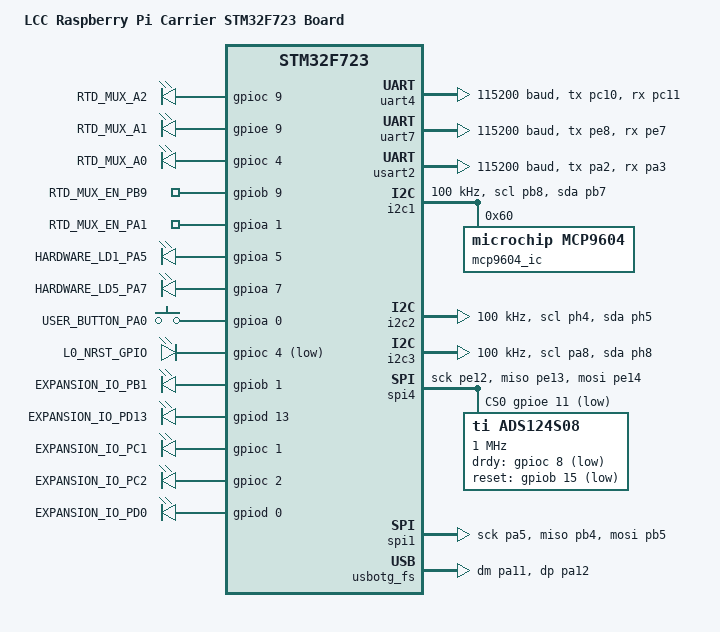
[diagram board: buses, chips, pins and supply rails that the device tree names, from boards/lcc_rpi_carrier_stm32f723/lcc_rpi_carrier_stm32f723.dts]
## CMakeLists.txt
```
cmake_minimum_required(VERSION 3.20.0)
set(BOARD_ROOT ${CMAKE_CURRENT_SOURCE_DIR})
find_package(Zephyr REQUIRED HINTS $ENV{ZEPHYR_BASE})
project(stm32f723_app)

# ==========================================
# Force CMake Re-run
# ==========================================
# 1. Automate .c files (Sources)
# ==========================================
file(GLOB_RECURSE APP_SOURCES 
    "src/*.c"
    "drivers/*.c"
)
target_sources(app PRIVATE ${APP_SOURCES})
# ==========================================
# 2. Automate .h files (Include Directories)
# ==========================================
file(GLOB_RECURSE APP_HEADERS 
    "src/*.h"
    "drivers/*.h"
)
# Extract just the folder path from each header file
set(APP_INCLUDE_DIRS "")
foreach(HEADER_FILE ${APP_HEADERS})
    get_filename_component(HEADER_DIR ${HEADER_FILE} DIRECTORY)
    list(APPEND APP_INCLUDE_DIRS ${HEADER_DIR})
endforeach()
# Remove duplicate folders from the list
list(REMOVE_DUPLICATES APP_INCLUDE_DIRS)
# Give the list of folders to the compiler
target_include_directories(app PRIVATE ${APP_INCLUDE_DIRS})

target_include_directories(app PRIVATE ${ZEPHYR_BASE}/drivers/adc)
```

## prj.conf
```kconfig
# ==========================================
# Core Kernel & System Configuration
# ==========================================
CONFIG_NEWLIB_LIBC=y
CONFIG_HEAP_MEM_POOL_SIZE=2048
CONFIG_CBPRINTF_FP_SUPPORT=y

# ==========================================
# Hardware Busses (I2C, SPI, GPIO)
# ==========================================
CONFIG_GPIO=y
CONFIG_I2C=y
CONFIG_I2C_STM32=y
CONFIG_SPI=y

# ==========================================
# Drivers (Sensors & ADCs)
# ==========================================
CONFIG_SENSOR=y
CONFIG_MCP9600=y
CONFIG_ADC=y
CONFIG_ADC_INIT_PRIORITY=80

# Keep upstream driver disabled, custom driver available
CONFIG_ADC_ADS1X4S0X=n
# Re-enable the structure fields needed by ADS124S08:
# CONFIG_ADC_CONFIGURABLE_INPUTS=y
# CONFIG_ADC_CONFIGURABLE_EXCITATION_CURRENT_SOURCE_PIN=y
# CONFIG_ADC_CONFIGURABLE_VBIAS_PIN=y

# ==========================================
# DMA & UART (Display Protocol)
# ==========================================
CONFIG_SERIAL=y
CONFIG_UART_ASYNC_API=y
CONFIG_DMA=y
CONFIG_NOCACHE_MEMORY=y

# Disable standard UART features to prevent conflicts with DMA
CONFIG_UART_CONSOLE=n
CONFIG_UART_INTERRUPT_DRIVEN=n

# Optional DMA debug
CONFIG_DMA_LOG_LEVEL_DBG=y

# ==========================================
# Logging & Console (SEGGER RTT)
# ==========================================
CONFIG_LOG=y
CONFIG_PRINTK=y
CONFIG_LOG_DEFAULT_LEVEL=3
CONFIG_LOG_RUNTIME_FILTERING=y
CONFIG_ASSERT=y

# Use RTT instead of UART for logs
CONFIG_USE_SEGGER_RTT=y
CONFIG_LOG_BACKEND_RTT=y
CONFIG_RTT_CONSOLE=y
CONFIG_LOG_BACKEND_UART=n
CONFIG_CONSOLE=n
CONFIG_STDOUT_CONSOLE=n

# RTT Buffers & Threading safety
CONFIG_SEGGER_RTT_BUFFER_SIZE_UP=4096
CONFIG_SEGGER_RTT_BUFFER_SIZE_DOWN=16
CONFIG_LOG_MODE_IMMEDIATE=y
# ==========================================
# Threading & Memory Protection
# ==========================================
CONFIG_NUM_PREEMPT_PRIORITIES=15
CONFIG_MAIN_STACK_SIZE=16384
CONFIG_SMF=y

# MPU & Stack Guard Rails
CONFIG_MPU=y
CONFIG_ARM_MPU=y
CONFIG_HW_STACK_PROTECTION=y
CONFIG_STACK_SENTINEL=y
CONFIG_INIT_STACKS=y

CONFIG_THREAD_STACK_INFO=y


# ==========================================
# Hardware Floating Point Unit (FPU)
# ==========================================
CONFIG_FPU=y
CONFIG_FPU_SHARING=y
CONFIG_SYSTEM_WORKQUEUE_STACK_SIZE=2048


# ==========================================
# Debug optimization
# ==========================================
CONFIG_DEBUG_OPTIMIZATIONS=y

# ==========================================
# Scheduler analysis
# ==========================================
CONFIG_THREAD_MONITOR=y
CONFIG_THREAD_NAME=y
CONFIG_THREAD_RUNTIME_STATS=y
CONFIG_THREAD_ANALYZER=y
CONFIG_THREAD_ANALYZER_AUTO=y
CONFIG_THREAD_ANALYZER_AUTO_INTERVAL=5


# ==========================================
# Zbus (Inter-thread Communication)
# ==========================================
CONFIG_ZBUS=y
CONFIG_ZBUS_CHANNEL_NAME=y   # Optional: useful for logging/debugging
```

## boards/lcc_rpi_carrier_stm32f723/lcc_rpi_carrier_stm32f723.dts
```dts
/*
 * SPDX-License-Identifier: Apache-2.0
 * * Custom Board Devicetree for LCC Raspberry Pi Carrier STM32F723 Board
 * Structured for scalability, easy maintenance, and explicit GPIO naming.
 */

/dts-v1/;

#include <st/f7/stm32f7.dtsi>
#include <st/f7/stm32f723Xe.dtsi>
#include <st/f7/stm32f723i(c-e)kx-pinctrl.dtsi>// zephyr->modules->hal->stm32->dts
#include <zephyr/dt-bindings/sensor/mcp9600.h>



//#include <zephyr/dt-bindings/pinctrl/stm32-pinctrl.h>


#include <zephyr/dt-bindings/input/input-event-codes.h>
/ {
    model = "LCC Raspberry Pi Carrier STM32F723 Board";
    compatible = "lcc,lcc_rpi_carrier_stm32f723";

    chosen {
        // zephyr,console = &usart6;
        // zephyr,shell-uart = &usart6;
        zephyr,sram = &sram0;
        zephyr,flash = &flash0;
        // zephyr,flash-controller = &mx25r512;
    };

    /* * =========================================================================
     * GPIO CONFIGURATIONS (LEDS, BUTTONS, & GENERAL PURPOSE IO)
     * =========================================================================
     */
    rtd_mux: rtd_mux {
        compatible = "gpio-leds";

        mux_addr2: mux_a2 {
            gpios = <&gpioc 9 GPIO_ACTIVE_HIGH>;
            label = "RTD_MUX_A2";
        };
        mux_addr1: mux_a1 {
            gpios = <&gpioe 9 GPIO_ACTIVE_HIGH>;
            label = "RTD_MUX_A1";
        };
        mux_addr0: mux_a0 {
            gpios = <&gpioc 4 GPIO_ACTIVE_HIGH>;
            label = "RTD_MUX_A0";
        };

        /*Complementary MUX Enable / Select Pins */
        mux_en1_b9: mux_en1_b9 {
            gpios = <&gpiob 9 GPIO_ACTIVE_HIGH>;
            label = "RTD_MUX_EN_PB9";
        };
        mux_en2_a1: mux_en2_a1 {
            gpios = <&gpioa 1 GPIO_ACTIVE_HIGH>;
            label = "RTD_MUX_EN_PA1";
        };




    };
    
    /* Standard LED Nodes */
    leds {
        compatible = "gpio-leds";

        gpio_pa5: led_pa5 {
            gpios = <&gpioa 5 GPIO_ACTIVE_HIGH>;
            label = "HARDWARE_LD1_PA5";
        };

        gpio_pa7: led_pa7 {
            gpios = <&gpioa 7 GPIO_ACTIVE_HIGH>;
            label = "HARDWARE_LD5_PA7";
        };

        // gpio_pb1: led_pb1 {
        //     gpios = <&gpiob 1 GPIO_ACTIVE_HIGH>;
        //     label = "HARDWARE_LD6_PB1";
        // };
    };

    /* Input Keys / Interrupt-driven Buttons */
    gpio_keys {
        compatible = "gpio-keys";

        gpio_pa0: button_pa0 {
            gpios = <&gpioa 0 GPIO_ACTIVE_HIGH>;
            label = "USER_BUTTON_PA0";
            zephyr,code = <INPUT_KEY_0>;
        };
    };

    /* * SCALABLE GPIO EXPANSION:
     * Use this block to map miscellaneous digital inputs/outputs on your board.
     * Binding to "gpio-leds" lets you manipulate them easily in C code using:
     * gpio_pin_configure_dt() / gpio_pin_set_dt()
     */
    custom_gpios {
        compatible = "gpio-leds";

        /* Template: Duplicate and modify these blocks as your board needs grow */

        l0_reset_pin: l0_reset_pin {
            gpios = <&gpioc 4 GPIO_ACTIVE_LOW>;
            label = "L0_NRST_GPIO";
        };

		gpio_pb1: io_pb1 {
            gpios = <&gpiob 1 GPIO_ACTIVE_HIGH>;
            label = "EXPANSION_IO_PB1";
        };

		gpio_pd13: io_pd13 {
            gpios = <&gpiod 13 GPIO_ACTIVE_HIGH>;
            label = "EXPANSION_IO_PD13";
        };


        gpio_pc1: io_pc1 {
            gpios = <&gpioc 1 GPIO_ACTIVE_HIGH>;
            label = "EXPANSION_IO_PC1";
        };

        gpio_pc2: io_pc2 {
            gpios = <&gpioc 2 GPIO_ACTIVE_HIGH>;
            label = "EXPANSION_IO_PC2";
        };

        gpio_pd0: io_pd0 {
            gpios = <&gpiod 0 GPIO_ACTIVE_HIGH>;
            label = "EXPANSION_IO_PD0";
        };
    };


  
    /* Application-friendly aliases for your main application logic loop */
    aliases {
        l0-reset = &l0_reset_pin;
        led0 = &gpio_pa5;
        led1 = &gpio_pa7;
        // led2 = &gpio_pb1;
        sw0  = &gpio_pa0;
        /* Custom io aliases can be mapped here as well (e.g., test-point = &gpio_pc1;) */
        /* ADD THESE TWO LINES FOR YOUR TASKS */
        vacuum-gpio = &gpio_pd13;    /* Points to io_pd13 (Pin D13) */
        collector-gpio = &gpio_pb1; /* Points to io_pb1 (Pin B1) */
        mux-a0 = &mux_addr0;
        mux-a1 = &mux_addr1;
        mux-a2 = &mux_addr2;

         /* Aliases for PB9 and PA1 */
        mux-en1 = &mux_en1_b9;
        mux-en2 = &mux_en2_a1;

    };
};

/* * =========================================================================
 * CLOCK & SYSTEM SYSTEM CONFIGURATION
 * =========================================================================
 */

&clk_hse {
    clock-frequency = <DT_FREQ_M(25)>;
    status = "disabled"; /* Change to "okay" if utilizing an external crystal oscillator */
};

&clk_hsi {
    status = "okay";
};

&pll {
    div-m = <8>;
    mul-n = <216>;
    div-p = <2>;
    div-q = <9>;
    clocks = <&clk_hsi>;
    status = "okay";
};

&rcc {
    clocks = <&pll>;
    clock-frequency = <DT_FREQ_M(216)>;
    ahb-prescaler = <1>;
    apb1-prescaler = <4>;
    apb2-prescaler = <2>;
};

/* * =========================================================================
 * COMMUNICATION PROTOCOLS (UARTS, I2C, SPI)
 * =========================================================================
 */

/* =========================================================================
 * UART4 + DMA ::::::::::::Accessory IOB:::::::
 * ========================================================================= */

&uart4 {
    /* PC10 is TX, PC11 is RX using alternative function mappings */
    pinctrl-0 = <&uart4_tx_pc10 &uart4_rx_pc11>;
    pinctrl-names = "default";
    current-speed = <115200>; /* Adjust to match accessory IOB */
    status = "okay";

    /* DMA mapping for STM32F7 UART4 */
    dmas = <&dma1 4 4 (STM32_DMA_PERIPH_TX | STM32_DMA_PRIORITY_HIGH) 0>,  /* Stream 4, Channel 4 (TX) */
           <&dma1 2 4 (STM32_DMA_PERIPH_RX | STM32_DMA_PRIORITY_HIGH) 0>;  /* Stream 2, Channel 4 (RX) */
    
    dma-names = "tx", "rx";
};


/* =========================================================================
 * CUSTOM TERMINAL DISPLAY CONFIGURATION (UART7 + DMA1)
 * ========================================================================= */


&uart7 {
    /* PE7 is RX, PE8 is TX using alternative function mappings */
    pinctrl-0 = <&uart7_tx_pe8 &uart7_rx_pe7>;
    pinctrl-names = "default";
    current-speed = <115200>;
    status = "okay";

    /* FIXED: Raw hex values explicitly resolve the parsing shift */
    dmas = <&dma1 1 5 (STM32_DMA_PERIPH_TX | STM32_DMA_PRIORITY_HIGH) 0>,  /* Stream 1, Channel 5 (TX Channel) */
           <&dma1 3 5 (STM32_DMA_PERIPH_RX | STM32_DMA_PRIORITY_HIGH) 0>;  /* Stream 3, Channel 5 (RX Channel) */

    //single-wire;       
    dma-names = "tx", "rx";
};




&dma1 {
    status = "okay";
};



/* Auxiliary Communication Channel / Modbus / External Peripherals */
&usart2 {
    pinctrl-0 = <&usart2_tx_pa2 &usart2_rx_pa3>;
    pinctrl-names = "default";
    current-speed = <115200>;
    status = "okay";
};


/* I2C Bus 1 - e.g., Onboard EEPROM or Sensors */


/* I2C Bus 1 - Dedicated to MCP9604 Thermocouple Converter */
&i2c1 {
    pinctrl-0 = <&i2c1_scl_pb8 &i2c1_sda_pb7>; 
    pinctrl-names = "default";
    clock-frequency = <I2C_BITRATE_STANDARD>; 
    status = "okay";

    /* Declare the single physical chip address */
    mcp9604_ic: mcp9604@60 {
        compatible = "microchip,mcp9604";
        reg = <0x60>;
        status = "okay";
    };
};



/* I2C Bus 2 - e.g., Display or Real-Time Clock */
&i2c2 {
    pinctrl-0 = <&i2c2_scl_ph4 &i2c2_sda_ph5>;
    pinctrl-names = "default";
    clock-frequency = <I2C_BITRATE_STANDARD>;
    status = "okay";
};

/* I2C Bus 3 - Expansion Header */
&i2c3 {
    pinctrl-0 = <&i2c3_scl_pa8 &i2c3_sda_ph8>;
    pinctrl-names = "default";
    clock-frequency = <I2C_BITRATE_STANDARD>;
    status = "okay";
};


&spi4 {
    pinctrl-0 = <&spi4_sck_pe12 &spi4_miso_pe13 &spi4_mosi_pe14>;
    pinctrl-names = "default";
    status = "okay";
    
    /* Define the CS pin here for the bus controller */
    cs-gpios = <&gpioe 11 GPIO_ACTIVE_LOW>;
            //    <&gpioe 9 GPIO_ACTIVE_LOW>;
    

    /* Existing ADS124S08 using CS index 0 */
    ads124s08@0 {
        compatible = "ti,ads124s08";
        reg = <0>; /* Maps to cs-gpios index 0 */
        spi-max-frequency = <1000000>;
        spi-cpha; 
        #io-channel-cells = <1>;
        #address-cells = <1>;
        #size-cells = <0>;

        idac-current = <500>;
        drdy-gpios = <&gpioc 8 GPIO_ACTIVE_LOW>; 
        reset-gpios = <&gpiob 15 GPIO_ACTIVE_LOW>;

        channel@0 {
            reg = <0>;
            zephyr,gain = "ADC_GAIN_1";
            zephyr,reference = "ADC_REF_INTERNAL";
            zephyr,acquisition-time = <ADC_ACQ_TIME_DEFAULT>;
            zephyr,input-positive = <1>; 
            zephyr,input-negative = <0>;
        };
    };


    // ltc2983: ltc2983@1 {
    //     compatible = "adi,ltc2983";
    //     reg = <1>;

    //     spi-max-frequency = <1000000>;

    //     spi-cpha;

    //     duplex = <0>;
    //     frame-format = <0>;
    //     spi-interframe-delay-ns = <0>;

    //     status = "okay";
    // };

};


/* SPI Bus 1 - High-speed peripheral bus */
&spi1 {
    pinctrl-0 = <&spi1_sck_pa5 &spi1_miso_pb4 &spi1_mosi_pb5>;
    pinctrl-names = "default";
    status = "okay";
    
    /* * Define custom GPIO Chip Selects here to use Zephyr's automated CS management.
     * Example: cs-gpios = <&gpioa 4 GPIO_ACTIVE_LOW>;
     */
};

/* * =========================================================================
 * EXTERNAL STORAGE & HIGH-SPEED FLASH (QSPI)
 * =========================================================================
 */
// &quadspi {
//     pinctrl-names = "default";
//     pinctrl-0 = <&quadspi_clk_pb2    &quadspi_bk1_ncs_pb6
//                  &quadspi_bk1_io0_pc9 &quadspi_bk1_io1_pc10
//                  &quadspi_bk1_io2_pe2 &quadspi_bk1_io3_pd13>;
//     flash-id = <1>;
//     status = "okay";

//     mx25r512: qspi-nor-flash@0 {
//         compatible = "st,stm32-qspi-nor";
//         reg = <0>;
//         size = <DT_SIZE_M(512)>; /* 512 Mbits (64 Megabytes) */
//         qspi-max-frequency = <8000000>;
//         cs-high-time = <3>; /* >= 30 ns */
//         spi-bus-width = <4>;
//         writeoc = "PP_1_4_4";
//         status = "okay";
//     };
// };

/* * =========================================================================
 * USB DEVICE CONFIGURATION
 * =========================================================================
 */
zephyr_udc0: &usbotg_fs {
    pinctrl-0 = <&usb_otg_fs_dm_pa11 &usb_otg_fs_dp_pa12>;
    pinctrl-names = "default";
    status = "okay";
};
```

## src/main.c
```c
#include <zephyr/kernel.h>
#include <zephyr/logging/log.h>
#include "boot_sequence.h"
#include "thread_manager.h"

LOG_MODULE_REGISTER(main_app, LOG_LEVEL_INF);

int main(void)
{
    system_boot_sequence();

    while (1) 
    {
        k_msleep(5000);
        reset_timeline_trace();
        LOG_INF("Main ENTERED");
    }

    return 0;
}
```

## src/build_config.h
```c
#ifndef BUILD_CONFIG_H
#define BUILD_CONFIG_H

/* ======================================================== */
/*  SIMULATION SWITCH                                 */
/* Comment out this line to return to physical hardware!    */
/* ======================================================== */
#define SIMULATION 1
#ifdef SIMULATION
    /* 1 = Simulate TRIAD (Tilt Valve Present = true,  Vent Valve Present = true)
     * 0 = Simulate FD    (Tilt Valve Present = false, Vent Valve Present = true)
     */
    #define SIMULATE_AS_TRIAD   1
#endif

#endif /* BUILD_CONFIG_H */
```

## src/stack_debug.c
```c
#include <zephyr/kernel.h>
#include <zephyr/logging/log.h>

LOG_MODULE_REGISTER(stack_test);

void print_stack_usage(void)
{
    size_t unused;

    int ret = k_thread_stack_space_get(k_current_get(), &unused);

    if (ret == 0) 
    {
    //    //LOG_INF("Thread %s unused stack: %u bytes",
    //             k_thread_name_get(k_current_get()),
    //             unused);
    }
}
```

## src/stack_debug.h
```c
#ifndef STACK_DEBUG_H
#define STACK_DEBUG_H

void print_stack_usage(void);

#endif
```

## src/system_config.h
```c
#ifndef SYSTEM_CONFIG_H
#define SYSTEM_CONFIG_H

/* ======================================================== */
/* MASTER SIMULATION SWITCH                                 */
/* Comment out this line to return to physical hardware!    */
/* ======================================================== */
#define SIMULATION 1


#endif /* SYSTEM_CONFIG_H */
```

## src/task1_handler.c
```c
/*
 * Copyright (c) 2026 Labconco Corporation
 * SPDX-License-Identifier: Apache-2.0
 */

#include <zephyr/logging/log.h>
#include "platform/platform_gpio.h"
#include "stack_debug.h"
LOG_MODULE_REGISTER(task1, LOG_LEVEL_INF);

int task1_init(void)
{
    print_stack_usage();
    if (!platform_gpio_is_ready(PLATFORM_GPIO_VACUUM_PD13)) {
        return -1;
    }
    return platform_gpio_config_output_inactive(PLATFORM_GPIO_VACUUM_PD13);
}

void task1_vacuum_controller(void)
{
    platform_gpio_toggle(PLATFORM_GPIO_VACUUM_PD13);
    //LOG_INF("[Task1] Entered");
}
```

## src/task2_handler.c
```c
/*
 * Copyright (c) 2026 Labconco Corporation
 * SPDX-License-Identifier: Apache-2.0
 */

#include <zephyr/logging/log.h>
#include "platform/platform_gpio.h"
#include "stack_debug.h"
LOG_MODULE_REGISTER(task2, LOG_LEVEL_INF);

int task2_init(void)
{
    print_stack_usage();
    if (!platform_gpio_is_ready(PLATFORM_GPIO_COLLECTOR_PB1)) {
        return -1;
    }
    return platform_gpio_config_output_inactive(PLATFORM_GPIO_COLLECTOR_PB1);
}

void task2_collector_controller(void)
{
    platform_gpio_toggle(PLATFORM_GPIO_COLLECTOR_PB1);
    //LOG_INF("[Task2] Entered");;
}
```

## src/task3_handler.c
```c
/*
 * Copyright (c) 2026 Labconco Corporation
 * SPDX-License-Identifier: Apache-2.0
 */

#include <zephyr/kernel.h>
#include <zephyr/smf.h>
#include <zephyr/logging/log.h>
#include "task3_handler.h"
#include "stack_debug.h"
LOG_MODULE_REGISTER(task3, LOG_LEVEL_INF);


struct counter_object {
   struct smf_ctx ctx;
   /* All User Defined Data Follows */
   int counter;
};

/*------------------------------------------------------------------
 * State IDs
 *----------------------------------------------------------------*/
enum counter_states {
    COUNT_UP,
    COUNT_DOWN,
};

static struct counter_object counter_obj;

static const struct smf_state states[];

/*-----------------------------
 * COUNT_UP State
 *----------------------------*/
static void count_up_entry(void *obj)
{
    printk("\nEntering COUNT_UP\n");
}

static enum smf_state_result count_up_run(void *obj)
{
    struct counter_object *s = obj;

    //printk("COUNT_UP: %d\n", s->counter);

    if (s->counter >= 5) {
        smf_set_state(SMF_CTX(s), &states[COUNT_DOWN]);
        return SMF_EVENT_HANDLED;
    }

    s->counter++;
    return SMF_EVENT_PROPAGATE;
}

/*-----------------------------
 * COUNT_DOWN State
 *----------------------------*/
static void count_down_entry(void *obj)
{
    //printk("\nEntering COUNT_DOWN\n");
}

static enum smf_state_result count_down_run(void *obj)
{
    struct counter_object *s = obj;

    //printk("COUNT_DOWN: %d\n", s->counter);

    if (s->counter <= 0) {
        smf_set_state(SMF_CTX(s), &states[COUNT_UP]);
        return SMF_EVENT_HANDLED;
    }

    s->counter--;
    return SMF_EVENT_PROPAGATE;
}

/*-----------------------------
 * State Table
 *----------------------------*/
static const struct smf_state states[] = {
    [COUNT_UP] = SMF_CREATE_STATE(
        count_up_entry,
        count_up_run,
        NULL,
        NULL,
        NULL),

    [COUNT_DOWN] = SMF_CREATE_STATE(
        count_down_entry,
        count_down_run,
        NULL,
        NULL,
        NULL),
};

void counter_smf_init(void)
{
    counter_obj.counter = 0;

    smf_set_initial(
        SMF_CTX(&counter_obj),
        &states[COUNT_UP]);
}

void counter_smf_run(void)
{
    smf_run_state(SMF_CTX(&counter_obj));
}

void task3_smf(void)
{
    counter_smf_run();
}

int task3_init(void)
{
    print_stack_usage();
    counter_smf_init();
    return 0;
}
```

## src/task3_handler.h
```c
#ifndef TASK3_HANDLER_H_
#define TASK3_HANDLER_H_

int task3_init(void);
void task3_smf(void);

#endif /* TASK3_HANDLER_H_ */
```

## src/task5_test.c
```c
/*
 * Copyright (c) 2026 Labconco Corporation
 * SPDX-License-Identifier: Apache-2.0
 */

#include <zephyr/logging/log.h>
#include "platform/platform_gpio.h"
#include "stack_debug.h"
#include <zephyr/logging/log.h>
LOG_MODULE_REGISTER(task5, LOG_LEVEL_INF);

int task5_init(void)
{
    print_stack_usage();
    // if (!platform_gpio_is_ready(PLATFORM_GPIO_VACUUM_PD13)) {
    //     return -1;
    // }
    // return platform_gpio_config_output_inactive(PLATFORM_GPIO_VACUUM_PD13);
    return 0;
}

void task5_vacuum_controller(void)
{
    // platform_gpio_toggle(PLATFORM_GPIO_VACUUM_PD13);
    //LOG_INF("[Task5] Entered");
}
```

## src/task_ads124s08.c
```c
#include "build_config.h"
#include <zephyr/kernel.h>
#include <zephyr/drivers/adc.h>
#include <zephyr/logging/log.h>
#include "task_ads124s08.h"
#include <math.h>
#include <zephyr/drivers/gpio.h>
#include "DataStorage/main_iob_data.h"
#include "communication/protocol_defs.h"

LOG_MODULE_REGISTER(task_ads, LOG_LEVEL_INF);

/* RTD constants */
#define VREF            2.5f
#define IDAC_CURRENT    0.000500f
#define ADC_FS          8388608.0f

#define RREF        2058.0f


/* PT1000 Callendar-Van Dusen coefficients */
#define RTD_R0          1000.0f
#define RTD_A           3.9083e-3f
#define RTD_B          -5.775e-7f

#define ADS_AINCOM       12  /* Zephyr internal index for AINCOM */

#define MUX_NODE DT_PATH(rtd_mux)

static const struct gpio_dt_spec mux_a0 = GPIO_DT_SPEC_GET(DT_ALIAS(mux_a0), gpios);//PC4
static const struct gpio_dt_spec mux_a1 = GPIO_DT_SPEC_GET(DT_ALIAS(mux_a1), gpios);//PE9
static const struct gpio_dt_spec mux_a2 = GPIO_DT_SPEC_GET(DT_ALIAS(mux_a2), gpios);//PC9
static const struct gpio_dt_spec mux_en1 = GPIO_DT_SPEC_GET(DT_ALIAS(mux_en1), gpios);//PB9
static const struct gpio_dt_spec mux_en2 = GPIO_DT_SPEC_GET(DT_ALIAS(mux_en2), gpios);//PA1

/* Helper to drive address lines 000 to 111 */
static void set_rtd_mux_channel(uint8_t address)
{


    gpio_pin_set_dt(&mux_en1, 0);
    gpio_pin_set_dt(&mux_en2, 0);

    /* Change MUX address */
    gpio_pin_set_dt(&mux_a0, (address >> 0) & 1);
    gpio_pin_set_dt(&mux_a1, (address >> 1) & 1);
    gpio_pin_set_dt(&mux_a2, (address >> 2) & 1);

    if (address < 8) 
    {
        gpio_pin_set_dt(&mux_en1, 1);
    } 
    else 
    {
        gpio_pin_set_dt(&mux_en2, 1);
    }

    /* Initial analog settling delay */
    k_msleep(10);
}

/* ========================================================
 * PRODUCT-SPECIFIC RTD CONFIGURATIONS
 * ======================================================== */
struct rtd_config 
{
    uint8_t channel_id;
    uint8_t input_positive; // ADS124S08 sense pin (AIN3 to AIN10)
    uint8_t input_negative; // ADS_AINCOM (12)
    uint8_t idac_pin;        // ALWAYS 11 (Excitation routes out AIN11)
    uint8_t mux_channel;    // 0 to 7 (Address for PC9, PE9, PC4)
    uint8_t action_id;
};
/* 1a. Freeze Dry (With Mini Chamber) */
static const struct rtd_config fd_mini_chamber_configs[] = 
{
    { .channel_id = 0, .input_positive = 1, .input_negative = 0, .idac_pin = 5, .action_id = SENSOR_COLLECTOR_TEMP },
    { .channel_id = 1, .input_positive = 3, .input_negative = 2, .idac_pin = 5, .action_id = SENSOR_MINI_CHAMBER_TEMP }
};
/* 1b. Freeze Dry (With Shell Freezer) */
static const struct rtd_config fd_shell_configs[] = 
{
    { .channel_id = 0, .input_positive = 1, .input_negative = 0, .idac_pin = 5, .action_id = SENSOR_COLLECTOR_TEMP },
    { .channel_id = 1, .input_positive = 3, .input_negative = 2, .idac_pin = 5, .action_id = SENSOR_SHELL_FREEZER_TEMP_SENSOR }
};

/* 2. Triad (4 RTDs) */
static const struct rtd_config triad_configs[] = 
{
    { .channel_id = 0, .input_positive = 1, .input_negative = 0, .idac_pin = 5, .action_id = SENSOR_COLLECTOR_TEMP},
    { .channel_id = 1, .input_positive = 3, .input_negative = 2, .idac_pin = 5, .action_id = SENSOR_SHELF1_TEMP }, 
    { .channel_id = 2, .input_positive = 4, .input_negative = 6, .idac_pin = 5, .action_id = SENSOR_SAMPLE1_TEMP },
    { .channel_id = 3, .input_positive = 7, .input_negative = 8, .idac_pin = 5, .action_id = SENSOR_LEXSOL_TEMP}
};

/* 3. Max Config (11 RTDs) */

static const struct rtd_config max_configs[] = 
{
    /* MUX 000 -> Sensor 1 on AIN3 */
    { .channel_id = 0, .input_positive = 3,  .input_negative = ADS_AINCOM, .idac_pin = 11, .mux_channel = 0, .action_id = SENSOR_RTD_TEMP1 },
    /* MUX 001 -> Sensor 2 on AIN4 */
    { .channel_id = 0, .input_positive = 4,  .input_negative = ADS_AINCOM, .idac_pin = 11, .mux_channel = 1, .action_id = SENSOR_RTD_TEMP2 },
    /* MUX 010 -> Sensor 3 on AIN5 */
    { .channel_id = 0, .input_positive = 5,  .input_negative = ADS_AINCOM, .idac_pin = 11, .mux_channel = 2, .action_id = SENSOR_RTD_TEMP3 },
    /* MUX 011 -> Sensor 4 on AIN6 */
    { .channel_id = 0, .input_positive = 6,  .input_negative = ADS_AINCOM, .idac_pin = 11, .mux_channel = 3, .action_id = SENSOR_RTD_TEMP4 },
    /* MUX 100 -> Sensor 5 on AIN7 */
    { .channel_id = 0, .input_positive = 7,  .input_negative = ADS_AINCOM, .idac_pin = 11, .mux_channel = 4, .action_id = SENSOR_RTD_TEMP5 },
    /* MUX 101 -> Sensor 6 on AIN8 */
    { .channel_id = 0, .input_positive = 8,  .input_negative = ADS_AINCOM, .idac_pin = 11, .mux_channel = 5, .action_id = SENSOR_RTD_TEMP6 },
    /* MUX 110 -> Sensor 7 on AIN9 */
    { .channel_id = 0, .input_positive = 9,  .input_negative = ADS_AINCOM, .idac_pin = 11, .mux_channel = 6, .action_id = SENSOR_RTD_TEMP7 },
    /* MUX 111 -> Sensor 8 on AIN10 */
    { .channel_id = 0, .input_positive = 10, .input_negative = ADS_AINCOM, .idac_pin = 11, .mux_channel = 7, .action_id = SENSOR_RTD_TEMP8 },

    /* --- MUX 2 (AIN0, AIN1, AIN2) --- */
    /* MUX 000 on MUX2 -> Sensor 9 on AIN0 */
    { .channel_id = 0, .input_positive = 0,  .input_negative = ADS_AINCOM, .idac_pin = 11, .mux_channel = 8,  .action_id = SENSOR_RTD_TEMP9 },
    /* MUX 001 on MUX2 -> Sensor 10 on AIN1 */
    { .channel_id = 0, .input_positive = 1,  .input_negative = ADS_AINCOM, .idac_pin = 11, .mux_channel = 9,  .action_id = SENSOR_RTD_TEMP10 },
    /* MUX 010 on MUX2 -> Sensor 11 on AIN2 */
    { .channel_id = 0, .input_positive = 2,  .input_negative = ADS_AINCOM, .idac_pin = 11, .mux_channel = 10, .action_id = SENSOR_RTD_TEMP11 },
};


/* --- DYNAMIC POINTERS --- */
static const struct rtd_config *active_rtds = NULL;
static uint8_t num_active_rtds = 0;




const struct device *ads_dev = DEVICE_DT_GET_ANY(ti_ads124s08);


/* Helper function to chop an int16_t into 2 bytes and send it to memory */
static void save_temp_to_memory(uint8_t action_id, int16_t temp_value)
{
    uint8_t raw_data[2];
    
    // Convert 16-bit integer into a 2-byte array (Little Endian)
    raw_data[0] = temp_value & 0xFF;         // LSB
    raw_data[1] = (temp_value >> 8) & 0xFF;  // MSB
    
    UpdateMainIOBData(action_id, raw_data);
}



/*
 * Convert ADC code to RTD resistance
 */
static float adc_to_resistance(int32_t adc)
{
     return ((float)adc / ADC_FS) * RREF;
}


/*
 * Convert PT1000 resistance to temperature
 *
 * Valid for temperature > 0C
 */
static float resistance_to_temperature(float resistance)
{
    float temp;


    temp = (-RTD_A +    sqrtf(     RTD_A * RTD_A -    4 * RTD_B *     (1 - resistance / RTD_R0)  ))   /      (2 * RTD_B);

    return temp;
}



int ads_task_init(void) 
{
    
    /* to be configured based on product type */
    active_rtds = max_configs;
    num_active_rtds = ARRAY_SIZE(max_configs);
    
    /* Configure PC9, PE9, PC4 as outputs set to 0 */
    gpio_pin_configure_dt(&mux_a0, GPIO_OUTPUT_INACTIVE);
    gpio_pin_configure_dt(&mux_a1, GPIO_OUTPUT_INACTIVE);
    gpio_pin_configure_dt(&mux_a2, GPIO_OUTPUT_INACTIVE);

    /* Configure PB9 and PA1 as outputs (initially PB9=0, PA1=1) */
    gpio_pin_configure_dt(&mux_en1, GPIO_OUTPUT_INACTIVE);
    gpio_pin_configure_dt(&mux_en2, GPIO_OUTPUT_ACTIVE);



#ifndef SIMULATION
    if (!device_is_ready(ads_dev)) 
    {
        LOG_ERR("ADS124S08 not ready");
        return -ENODEV;
    }
    LOG_INF("ADS124S08 device ready");
#endif
    return 0;


}

void ads_task_run(void)
{

#ifdef SIMULATION
    /* --- SIMULATION CODE --- */
    static int16_t fake_collector = 200;  // 20.0 °C
    static int16_t fake_shelf     = 100;  // 10.0 °C
    
    fake_collector += 5;                 
    fake_shelf     += 2;     
    if (fake_collector > 800) fake_collector = -200;           
    if (fake_shelf > 400) fake_shelf = 0;
    // Safely inject our fake data
    save_temp_to_memory(SENSOR_COLLECTOR_TEMP, fake_collector);
    save_temp_to_memory(SENSOR_SHELL_DRY_LEXSOL, fake_collector - 50);
    save_temp_to_memory(SENSOR_SHELF1_TEMP, fake_shelf);
    save_temp_to_memory(SENSOR_SAMPLE1_TEMP, fake_shelf + 10);


#else
    /* --- HARDWARE CODE --- */

    #define NUM_SAMPLES 5

    int err;
    int32_t adc_samples[NUM_SAMPLES];

    /* Read all RTDs sequentially */
    for (int i = 0; i < num_active_rtds; i++)
    {
        /* 1. Select RTD using external MUX */
        set_rtd_mux_channel(active_rtds[i].mux_channel);

        /* Allow MUX and analog circuit to settle */
        k_msleep(100);

        /* 2. Configure ADS124S08 */
        struct adc_channel_cfg cfg = 
        {
            .channel_id = 0,
            .differential = true,
            .input_positive = active_rtds[i].input_positive,
            .input_negative = active_rtds[i].input_negative,
            .gain = ADC_GAIN_1,
            .reference =ADC_REF_EXTERNAL0 , // ADC_REF_INTERNAL
            .acquisition_time = ADC_ACQ_TIME_DEFAULT,
            .current_source_pin_set = true,
            .current_source_pin = { 11, 15 }
        };

        err = adc_channel_setup(ads_dev, &cfg);
        
        k_msleep(100);

        if (err != 0)
        {
            LOG_ERR("ADC setup failed for RTD%d: %d", i + 1, err);
            continue;
        }

        /* 3. Configure ADC sequence */
        struct adc_sequence sequence = {
            .channels = BIT(0),
            .buffer = &adc_samples[0],
            .buffer_size = sizeof(adc_samples[0]),
            .resolution = 24,
            .oversampling = 0,
            .calibrate = false,
        };

        float resistance_sum = 0.0f;
        float temperature_sum = 0.0f;
        int32_t adc_sum = 0;

        printk("\n========== RTD%d (AIN%d) ==========\n",
               i + 1,
               active_rtds[i].input_positive);

        /* 4. Take 5 readings */
        for (int sample = 0; sample < NUM_SAMPLES; sample++)
        {
            sequence.buffer = &adc_samples[sample];

            err = adc_read(ads_dev, &sequence);

            if (err != 0)
            {
                LOG_ERR("ADC read failed RTD%d Sample%d: %d",
                        i + 1, sample + 1, err);
                continue;
            }

            int32_t adc_value = adc_samples[sample];

            float resistance = adc_to_resistance(adc_value);
            float temperature = resistance_to_temperature(resistance);

            adc_sum += adc_value;
            resistance_sum += resistance;
            temperature_sum += temperature;

            /* Print every individual reading */
            printk("RTD%d | Sample %d | ADC=%ld | R=%.3f Ohm | Temp=%.3f C\n",
                   i + 1,
                   sample + 1,
                   (long)adc_value,
                   (double)resistance,
                   (double)temperature);

            k_msleep(20);
        }

        /* 5. Calculate averages */
        float avg_adc = (float)adc_sum / NUM_SAMPLES;
        float avg_resistance = resistance_sum / NUM_SAMPLES;
        float avg_temperature = temperature_sum / NUM_SAMPLES;

        printk("------------------------------------\n");

        printk("RTD%d AVERAGE OF 5 SAMPLES:\n", i + 1);

        printk("Average ADC Code : %.2f\n", (double)avg_adc);
        printk("Average Resistance: %.3f Ohm\n", (double)avg_resistance);
        printk("Average Temperature: %.3f C\n", (double)avg_temperature);

        printk("====================================\n");

        /* 6. Save averaged temperature */
        save_temp_to_memory(
            active_rtds[i].action_id,
            (int16_t)(avg_temperature * 10.0f)
        );
    }

#endif



// #else
//     /* --- HARDWARE CODE --- */
//     int err;
//     int32_t adc_val1 = 0;
//     int32_t adc_val2 = 0;
//     /* Read all 11 RTDs sequentially */

    
//     for (int i = 0; i < num_active_rtds; i++) 
//     {
//         k_msleep(500);
//         /* 1. Select the sensor via the external MUX */
//         set_rtd_mux_channel(active_rtds[i].mux_channel);
//         /* 2. Settle time for MUX switch and analog filter (e.g. 1 ms) */
//         k_msleep(500);
//         /* 3. Setup ADS124S08: IDAC1 stays on AIN11, sense on active input_positive */
//         struct adc_channel_cfg cfg = {
//             .channel_id = 0,
//             .differential = true,
//             .input_positive = active_rtds[i].input_positive,
//             .input_negative = active_rtds[i].input_negative,
//             .gain = ADC_GAIN_1,
//             .reference = ADC_REF_EXTERNAL0,
//             .acquisition_time = ADC_ACQ_TIME_DEFAULT,
//             .current_source_pin_set = true,
//             .current_source_pin = { 11, 15 } /* IDAC1 on AIN11, IDAC2 off */
//         };
             
        
        
//         err = adc_channel_setup(ads_dev, &cfg);
//         if (err != 0) 
//         {
//             LOG_ERR("ADC MUX setup failed for RTD%d: %d", i + 1, err);
//             continue;
//         }
        
//         /* Declare the sequence buffer for reading channel 0 */
//         struct adc_sequence sequence = {
//             .channels = BIT(0),
//             .buffer = &adc_val1,
//             .buffer_size = sizeof(adc_val1),
//             .resolution = 24,
//             .oversampling = 0,
//             .calibrate = false,
//         };
//         k_msleep(500);
        
//         /* 1st Read */
//         sequence.buffer = &adc_val1;

//         err = adc_read(ads_dev, &sequence);

//         if (err != 0) {
//             LOG_ERR("ADC Read 1 failed for RTD%d: %d", i + 1, err);
//             continue;
//         }


//         float r1 = adc_to_resistance(adc_val1);
//         float t1 = resistance_to_temperature(r1);
//         k_msleep(500);
//         /* 2nd Read */
//         sequence.buffer = &adc_val2;
//         err = adc_read(ads_dev, &sequence);
//         if (err == 0) 
//         {
//             float r2 = adc_to_resistance(adc_val2);
//             float t2 = resistance_to_temperature(r2);
//             save_temp_to_memory(active_rtds[i].action_id, (int16_t)(t2 * 10.0f));
//             /* Print 1st Read then 2nd Read */
//                         /* Print 1st Read then 2nd Read with Code in Decimal */
//             printk("\x1b[1;0uRTD%02d (AIN%d) [Read 1]: Code=%ld | R=%.2f Ohm | Temp=%.2f C\n",
//                 i + 1, active_rtds[i].input_positive,
//                 (long)adc_val1, (double)r1, (double)t1);

//             printk("RTD%02d (AIN%d) [Read 2]: Code=%ld | R=%.2f Ohm | Temp=%.2f C\n\x1b[0;0u",
//                 i + 1, active_rtds[i].input_positive,
//                 (long)adc_val2, (double)r2, (double)t2);
//         }
        
//         // /* 1st Read: Dummy read to flush digital filter and discard */
//         // adc_read(ads_dev, &sequence);
//         // /* 2nd Read: Valid, fully settled reading to keep */
//         // err = adc_read(ads_dev, &sequence);
//         // if (err == 0) 
//         // {
//         //     float resistance = adc_to_resistance(adc_value);
//         //     float temperature = resistance_to_temperature(resistance);
            
//         //     /* Scale float (20.5 C) to protocol int16_t (205) */
//         //     int16_t temp_scaled = (int16_t)(temperature * 10.0f);
            
//         //     /* Save to memory using its SENSOR_RTD_TEMP ID */
//         //     save_temp_to_memory(active_rtds[i].action_id, temp_scaled);
            
//         //     // printk("RTD%02d (AIN%d): Code=0x%06X | R=%.2f Ohm | Temp=%.2f C\n",  i + 1, active_rtds[i].input_positive,(uint32_t)(adc_value & 0x00FFFFFF),
//         //     //         (double)resistance, (double)temperature);

//         //     /* \x1b[1;0u switches to Terminal 1, \x1b[0;0u switches back to Terminal 0 */
//         //     printk("\x1b[1;0uRTD%02d (AIN%d): Code=0x%06X | R=%.2f Ohm | Temp=%.2f C\n\x1b[0;0u",
//         //         i + 1, active_rtds[i].input_positive,
//         //         (uint32_t)(adc_value & 0x00FFFFFF),
//         //         (double)resistance, (double)temperature);
//         // } 
//         // else 
//         // {
//         //     LOG_ERR("ADC read failed on RTD%d: %d", i + 1, err);
//         // }
//     }
// #endif
}
```

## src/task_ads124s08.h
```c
#ifndef TASK_ADS_H_
#define TASK_ADS_H_

/**
 * @brief Initialize the ADS124S08 peripheral and driver.
 * @return 0 on success, negative error code on failure.
 */
int ads_task_init(void);

/**
 * @brief Main handler for the ADS124S08 task.
 * Reads ADC values and updates the global state.
 */
void ads_task_run(void);

/**
 * @brief Thread-safe getter to retrieve the latest ADC/RTD value.
 * @return The current 24-bit processed value.
 */
float get_ads_rtd_value(void);

#endif /* TASK_ADS_H_H */
```

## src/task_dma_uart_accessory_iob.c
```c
#include <zephyr/kernel.h>
#include <zephyr/drivers/uart.h>
#include <zephyr/logging/log.h>
#include <zephyr/cache.h>
#include <zephyr/app_memory/app_memdomain.h>
#include <string.h>
#include "communication/framer.h"
#include "communication/parser.h"

LOG_MODULE_REGISTER(dma_uart_accessory_iob, LOG_LEVEL_DBG);

/* Devicetree node configuration for the target UART peripheral */
#define UART_DMA_NODE DT_NODELABEL(uart4) 
static const struct device *const uart_dev = DEVICE_DT_GET(UART_DMA_NODE);

static uint8_t accessory_iob_tx_buffer[128] __nocache;
static atomic_t tx_busy = ATOMIC_INIT(0);

/* RX Configuration: Double-buffering prevents data loss during processing */
#define RX_BUF_SIZE 64
static uint8_t rx_buf_1[RX_BUF_SIZE] __aligned(32) __nocache;
static uint8_t rx_buf_2[RX_BUF_SIZE] __aligned(32) __nocache;

static uint8_t *next_rx_buf = rx_buf_2;
static bool rx_active = false;

/* Queue to pass received chunks from ISR context to thread context */
struct rx_chunk_msg {
    uint8_t data[RX_BUF_SIZE];
    size_t len;
};
K_MSGQ_DEFINE(accessory_rx_msgq, sizeof(struct rx_chunk_msg), 10, 4);

/* The global framer instance */
static fd_framer_t framer;

/* Callback triggered by the framer when a valid packet is assembled */
static void on_valid_packet_received(const fd_packet_t *pkt)
{
    LOG_DBG("Valid packet framed. Routing to parser...");
    fd_parser_process_packet(INTERFACE_ACCESSORY_IOB, pkt);
}

/* Async UART Callback to catch DMA events */
static void dma_accessory_iob_callback(const struct device *dev, struct uart_event *evt, void *user_data)
{
    int ret;
    switch (evt->type) {
    case UART_TX_DONE:
        LOG_INF("Accessory IOB DMA transaction finished. Transmitted %zu bytes.", evt->data.tx.len);
        atomic_clear(&tx_busy);
        break;

    case UART_TX_ABORTED:
        LOG_ERR("Accessory IOB DMA transaction aborted!");
        atomic_clear(&tx_busy);
        break;

    /* --- RX Event Handling --- */
    case UART_RX_RDY:
        /* Fired when data is received or an idle timeout occurs */
        LOG_DBG("RX Data Ready: Received %zu bytes at offset %zu", 
                evt->data.rx.len, evt->data.rx.offset);
        
        if (evt->data.rx.len > 0) {
            struct rx_chunk_msg msg;
            msg.len = evt->data.rx.len;
            
            /* Prevent buffer overflow in case of unexpected length */
            if (msg.len > sizeof(msg.data)) {
                msg.len = sizeof(msg.data);
            }

            /* Copy data out of the DMA buffer immediately */
            memcpy(msg.data, evt->data.rx.buf + evt->data.rx.offset, msg.len);

            /* Send the data chunk to the thread for processing (K_NO_WAIT is crucial in ISR) */
            if (k_msgq_put(&accessory_rx_msgq, &msg, K_NO_WAIT) != 0) {
                LOG_ERR("RX Message Queue is full! Dropping %zu bytes", msg.len);
            }
        }
        break;

    case UART_RX_BUF_REQUEST:
        rx_active = true;
        LOG_DBG("Requesting buffer: %p", next_rx_buf); 
        ret = uart_rx_buf_rsp(dev, next_rx_buf, RX_BUF_SIZE);
        if (ret < 0) {
            LOG_ERR("Failed to provide next RX buffer: %d", ret);
        } else {
            /* Safely toggle the pointer for the NEXT request event */
            next_rx_buf = (next_rx_buf == rx_buf_1) ? rx_buf_2 : rx_buf_1;
        }
        break;

    case UART_RX_BUF_RELEASED:
        /* Fired when the driver is completely done with a buffer chunk */
        LOG_DBG("Buffer %p released by DMA engine.", (void *)evt->data.rx_buf.buf);
        break;

    case UART_RX_DISABLED:
        LOG_INF("UART RX disabled. Re-arming...");
        next_rx_buf = rx_buf_2; // Reset buffer pointer
        uart_rx_enable(dev, rx_buf_1, RX_BUF_SIZE, 5000);
        break;

    case UART_RX_STOPPED:
        rx_active = false;
        LOG_WRN("RX Stopped: %d", evt->data.rx_stop.reason);
        break;

    default:
        break;
    }
}

/* Initialization Function */
int dma_uart_accessory_iob_init(void)
{
    /* 1. Initialize our protocol framer state machine */
    fd_framer_init(&framer, on_valid_packet_received);

    /* 2. Force the peripheral to a clean state */
    uart_irq_rx_disable(uart_dev);
    uart_irq_tx_disable(uart_dev);

    if (!device_is_ready(uart_dev)) {
        LOG_ERR("Display UART hardware not ready");
        return -1;
    }

    int ret = uart_callback_set(uart_dev, dma_accessory_iob_callback, NULL);
    if (ret < 0) {
        LOG_ERR("Failed to set Asynchronous UART Callback: %d", ret);
        return ret;
    }
    
    ret = uart_rx_enable(uart_dev, rx_buf_1, RX_BUF_SIZE, 5000);
    if (ret < 0) {
        LOG_ERR("Failed to start RX DMA: %d", ret);
    } else {
        LOG_INF("RX DMA started successfully.");
    }

    LOG_INF("DMA UART Accessory IOB context fully initialized (TX & RX).");

    /* TEST MESSAGE: Send a dummy read request to RealTerm */
    /* 4C 43 03 01 04 02 0A 00 */
    uint8_t test_msg[] = {0x4C, 0x43, 0x03, 0x01, 0x04, 0x02, 0x0A, 0x00};
    
    /* Forward declaration so the compiler knows about the function below */
    extern void fd_protocol_send_accessory_iob_dma(const uint8_t *data, size_t len);
    
    fd_protocol_send_accessory_iob_dma(test_msg, sizeof(test_msg));

    return 0;
}

/* Runner / Handler Function */
void dma_uart_accessory_iob_run(void)
{
    struct rx_chunk_msg msg;

    /* Block until new DMA bytes arrive in the queue */
    if (k_msgq_get(&accessory_rx_msgq, &msg, K_FOREVER) == 0) {
        
        /* 
         * Feed bytes into the framer state machine.
         * If a complete frame is formed, the framer will synchronously 
         * fire the `on_valid_packet_received` callback on this thread context.
         */
        fd_framer_feed_bytes(&framer, msg.data, msg.len);
    }

    
}



/* Function to transmit a protocol frame over UART DMA */
void fd_protocol_send_accessory_iob_dma(const uint8_t *data, size_t len)
{
    /* Wait if a transmission is already in progress */
    if (atomic_get(&tx_busy) != 0) {
        LOG_WRN("TX busy, dropping packet!");
        return;
    }

    /* Ensure we don't overflow our TX buffer */
    if (len > sizeof(accessory_iob_tx_buffer)) {
        LOG_ERR("Frame too large for TX buffer!");
        return;
    }

    /* Copy to the non-cached DMA buffer */
    memcpy(accessory_iob_tx_buffer, data, len);
    
    /* Flush D-cache to physical RAM before triggering DMA (required for Zephyr on STM32F7) */
    sys_cache_data_flush_range(accessory_iob_tx_buffer, len);

    atomic_set(&tx_busy, 1);

    int ret = uart_tx(uart_dev, accessory_iob_tx_buffer, len, SYS_FOREVER_US);
    if (ret < 0) {
        LOG_ERR("Failed to initiate DMA TX: %d", ret);
        atomic_clear(&tx_busy);
    }
}
```
